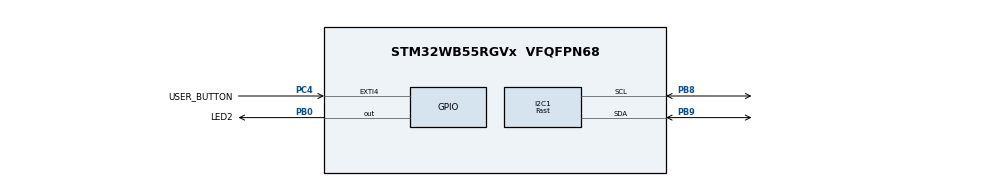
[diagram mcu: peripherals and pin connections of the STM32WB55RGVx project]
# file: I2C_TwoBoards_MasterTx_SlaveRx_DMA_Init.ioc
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Dma.I2C1_RX.0.Direction=DMA_PERIPH_TO_MEMORY
Dma.I2C1_RX.0.EventEnable=DISABLE
Dma.I2C1_RX.0.Instance=DMA1_Channel3
Dma.I2C1_RX.0.MemDataAlignment=DMA_MDATAALIGN_BYTE
Dma.I2C1_RX.0.MemInc=DMA_MINC_ENABLE
Dma.I2C1_RX.0.Mode=DMA_NORMAL
Dma.I2C1_RX.0.PeriphDataAlignment=DMA_PDATAALIGN_BYTE
Dma.I2C1_RX.0.PeriphInc=DMA_PINC_DISABLE
Dma.I2C1_RX.0.Polarity=HAL_DMAMUX_REQ_GEN_RISING
Dma.I2C1_RX.0.Priority=DMA_PRIORITY_HIGH
Dma.I2C1_RX.0.RequestNumber=1
Dma.I2C1_RX.0.SignalID=HAL_DMAMUX1_REQ_GEN_EXTI4
Dma.I2C1_RX.0.SyncEnable=DISABLE
Dma.I2C1_RX.0.SyncPolarity=HAL_DMAMUX_SYNC_NO_EVENT
Dma.I2C1_RX.0.SyncRequestNumber=1
Dma.I2C1_RX.0.SyncSignalID=HAL_DMAMUX1_SYNC_EXTI4
Dma.I2C1_TX.1.Direction=DMA_MEMORY_TO_PERIPH
Dma.I2C1_TX.1.EventEnable=DISABLE
Dma.I2C1_TX.1.Instance=DMA1_Channel2
Dma.I2C1_TX.1.MemDataAlignment=DMA_MDATAALIGN_BYTE
Dma.I2C1_TX.1.MemInc=DMA_MINC_ENABLE
Dma.I2C1_TX.1.Mode=DMA_NORMAL
Dma.I2C1_TX.1.PeriphDataAlignment=DMA_PDATAALIGN_BYTE
Dma.I2C1_TX.1.PeriphInc=DMA_PINC_DISABLE
Dma.I2C1_TX.1.Polarity=HAL_DMAMUX_REQ_GEN_RISING
Dma.I2C1_TX.1.Priority=DMA_PRIORITY_HIGH
Dma.I2C1_TX.1.RequestNumber=1
Dma.I2C1_TX.1.SignalID=HAL_DMAMUX1_REQ_GEN_EXTI4
Dma.I2C1_TX.1.SyncEnable=DISABLE
Dma.I2C1_TX.1.SyncPolarity=HAL_DMAMUX_SYNC_NO_EVENT
Dma.I2C1_TX.1.SyncRequestNumber=1
Dma.I2C1_TX.1.SyncSignalID=HAL_DMAMUX1_SYNC_EXTI4
Dma.Request0=I2C1_RX
Dma.Request1=I2C1_TX
I2C1.AddressingMode=I2C_ADDRESSINGMODE_7BIT
I2C1.Analog_Filter=I2C_ANALOGFILTER_ENABLE
I2C1.CustomTiming=Disabled
I2C1.DualAddressMode=I2C_DUALADDRESS_DISABLE
I2C1.GeneralCallMode=I2C_GENERALCALL_DISABLE
I2C1.I2C_Coeff_DF=2
I2C1.I2C_Fall_Time=10
I2C1.I2C_Rise_Time=100
I2C1.I2C_Speed_Mode=I2C_Fast
I2C1.NoStretchMode=I2C_NOSTRETCH_DISABLE
I2C1.OwnAddress=0x5a
I2C1.Speed=400
Mcu.Family=STM32WB
Mcu.Name=STM32WB55RGVx
Mcu.Package=VFQFPN68
NVIC.DMA1_Channel2_IRQn=true\:0\:0\:false\:false\:true\:false\:true\:true
NVIC.DMA1_Channel3_IRQn=true\:0\:0\:false\:false\:true\:false\:true\:true
NVIC.EXTI4_IRQn=true\:0\:0\:false\:false\:true\:true\:true\:true
NVIC.PriorityGroup=NVIC_PRIORITYGROUP_4
PB0.GPIO_Label=LED2
PB0.Signal=GPIO_Output
PB8.GPIO_Pu=GPIO_PULLUP
PB8.GPIO_Speed=GPIO_SPEED_FREQ_HIGH
PB8.Mode=I2C
PB8.Signal=I2C1_SCL
PB9.GPIO_Pu=GPIO_PULLUP
PB9.GPIO_Speed=GPIO_SPEED_FREQ_HIGH
PB9.Mode=I2C
PB9.Signal=I2C1_SDA
PC4.GPIO_Label=USER_BUTTON
PC4.GPIO_ModeDefaultEXTI=GPIO_MODE_IT_FALLING
PC4.GPIO_PuPd=GPIO_PULLUP
PC4.Signal=GPXTI4
ProjectManager.HeapSize=0x200
ProjectManager.StackSize=0x400
ProjectManager.TargetToolchain=EWARM V8
RCC.ADCFreq_Value=16000000
RCC.AHB2CLKDivider=RCC_SYSCLK_DIV2
RCC.AHBFreq_Value=16000000
RCC.APB1Freq_Value=16000000
RCC.APB1TimFreq_Value=16000000
RCC.APB2Freq_Value=16000000
RCC.APB2TimFreq_Value=16000000
RCC.APB3Freq_Value=16000000
RCC.CodegenConfigPeriph=false
RCC.CortexFreq_Value=16000000
RCC.HCLKFreq_Value=16000000
RCC.HSE_VALUE=8000000
RCC.HSI48_VALUE=48000000
RCC.HSI_VALUE=16000000
RCC.LSE_VALUE=32768
RCC.PLLN=32
RCC.SYSCLKFreq_VALUE=16000000
RCC.SYSCLKSource=RCC_SYSCLKSOURCE_HSI
RCC.USBFreq_Value=16000000
RCC.VCOOutputFreq_Value=128000000
board=custom

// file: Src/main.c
/* USER CODE BEGIN Header */
/**
  ******************************************************************************
  * @file    Examples_LL/I2C/I2C_TwoBoards_MasterTx_SlaveRx_DMA_Init/Src/main.c
  * @author  MCD Application Team
  * @brief   This example describes how to send/receive bytes over I2C IP using
  *          the STM32WBxx I2C LL API.
  *          Peripheral initialization done using LL unitary services functions.
  ******************************************************************************
  * @attention
  *
  * Copyright (c) 2019-2021 STMicroelectronics.
  * All rights reserved.
  *
  * This software is licensed under terms that can be found in the LICENSE file
  * in the root directory of this software component.
  * If no LICENSE file comes with this software, it is provided AS-IS.
  *
  ******************************************************************************
  */
/* USER CODE END Header */
#include "main.h"

/* USER CODE BEGIN PD */
/**
  * @brief Timeout value
  */
#if (USE_TIMEOUT == 1)
#define DMA_SEND_TIMEOUT_TC_MS               5
#ifdef SLAVE_BOARD
#define I2C_SEND_TIMEOUT_STOP_MS             5
#else /* MASTER BOARD */
#define I2C_SEND_TIMEOUT_SB_MS               5
#define I2C_SEND_TIMEOUT_ADDR_MS             5
#endif
#endif /* USE_TIMEOUT */

/**
  * @brief I2C devices settings
  */
/* Timing register value is computed with the STM32CubeMX Tool,
  * Fast Mode @400kHz with I2CCLK = 16 MHz,
  * rise time = 100ns, fall time = 10ns
  * Timing Value = (uint32_t)0x00C0216C
  */
#define I2C_TIMING                           0x00C0216C

/* USER CODE END PD */

/* USER CODE BEGIN PV */
#if (USE_TIMEOUT == 1)
uint32_t Timeout                             = 0; /* Variable used for Timeout management */
#endif /* USE_TIMEOUT */
const uint8_t aLedOn[]                       = "LED ON";

/**
  * @brief Variables related to SlaveReceive process
  */
__IO uint8_t  ubNbDataToReceive              = sizeof(aLedOn);
uint8_t       aReceiveBuffer[sizeof(aLedOn)] = {0};
__IO uint8_t  ubSlaveTransferComplete        = 0;

/**
  * @brief Variables related to MasterTransmit process
  */
__IO uint8_t  ubNbDataToTransmit             = sizeof(aLedOn);
uint8_t*      pTransmitBuffer                = (uint8_t*)aLedOn;
__IO uint8_t  ubMasterTransferComplete       = 0;
__IO uint8_t  ubButtonPress                  = 0;

/* USER CODE END PV */

void SystemClock_Config(void);
void PeriphCommonClock_Config(void);
static void MX_GPIO_Init(void);
static void MX_DMA_Init(void);
static void MX_I2C1_Init(void);
/* USER CODE BEGIN PFP */
void     LED_On(void);
void     LED_Off(void);
void     LED_Blinking(uint32_t Period);

#ifdef SLAVE_BOARD
void     Handle_I2C_Slave(void);
uint8_t  Buffercmp8(uint8_t* pBuffer1, uint8_t* pBuffer2, uint8_t BufferLength);

#else /* MASTER_BOARD */
void     WaitForUserButtonPress(void);
void     Handle_I2C_Master(void);
#endif /* SLAVE_BOARD */

/* USER CODE END PFP */

int main(void)
{

  /* MCU Configuration--------------------------------------------------------*/

  /* Reset of all peripherals, Initializes the Flash interface and the Systick. */

  /* System interrupt init*/
  NVIC_SetPriorityGrouping(NVIC_PRIORITYGROUP_4);

  /* Configure the system clock */
  SystemClock_Config();

/* Configure the peripherals common clocks */
  PeriphCommonClock_Config();

  /* Initialize all configured peripherals */
  MX_GPIO_Init();
  MX_DMA_Init();
  MX_I2C1_Init();
  /* USER CODE BEGIN 2 */

  /* Set LED2 Off */
  LED_Off();

#ifdef SLAVE_BOARD

  /* Handle I2C1 events (Slave) */
  Handle_I2C_Slave();
#else /* MASTER_BOARD */

  /* Wait for User push-button (SW1) press to start transfer */
  WaitForUserButtonPress();

  /* Handle I2C1 events (Master) */
  Handle_I2C_Master();
#endif /* SLAVE_BOARD */

  /* USER CODE END 2 */

  /* Infinite loop */
  while (1)
  {

  }
}

void SystemClock_Config(void)
{
  /* HSI configuration and activation */
  LL_RCC_HSI_Enable();
  while(LL_RCC_HSI_IsReady() != 1)
  {
  }

  /* Sysclk activation on the HSI */
  /* Set CPU1 prescaler*/
  LL_RCC_SetAHBPrescaler(LL_RCC_SYSCLK_DIV_1);

  /* Set CPU2 prescaler*/
  LL_C2_RCC_SetAHBPrescaler(LL_RCC_SYSCLK_DIV_2);

  LL_RCC_SetSysClkSource(LL_RCC_SYS_CLKSOURCE_HSI);
  while(LL_RCC_GetSysClkSource() != LL_RCC_SYS_CLKSOURCE_STATUS_HSI)
  {
  }

  /* Set AHB SHARED prescaler*/
  LL_RCC_SetAHB4Prescaler(LL_RCC_SYSCLK_DIV_1);

  /* Set APB1 prescaler*/
  LL_RCC_SetAPB1Prescaler(LL_RCC_APB1_DIV_1);

  /* Set APB2 prescaler*/
  LL_RCC_SetAPB2Prescaler(LL_RCC_APB2_DIV_1);

  LL_Init1msTick(16000000);

  /* Update CMSIS variable (which can be updated also through SystemCoreClockUpdate function) */
  LL_SetSystemCoreClock(16000000);
}

void PeriphCommonClock_Config(void)
{
}

static void MX_I2C1_Init(void)
{

  LL_I2C_InitTypeDef I2C_InitStruct = {0};

  LL_GPIO_InitTypeDef GPIO_InitStruct = {0};

  LL_AHB2_GRP1_EnableClock(LL_AHB2_GRP1_PERIPH_GPIOB);
  /**I2C1 GPIO Configuration
  PB8   ------> I2C1_SCL
  PB9   ------> I2C1_SDA
  */
  GPIO_InitStruct.Pin = LL_GPIO_PIN_8|LL_GPIO_PIN_9;
  GPIO_InitStruct.Mode = LL_GPIO_MODE_ALTERNATE;
  GPIO_InitStruct.Speed = LL_GPIO_SPEED_FREQ_HIGH;
  GPIO_InitStruct.OutputType = LL_GPIO_OUTPUT_OPENDRAIN;
  GPIO_InitStruct.Pull = LL_GPIO_PULL_UP;
  GPIO_InitStruct.Alternate = LL_GPIO_AF_4;
  LL_GPIO_Init(GPIOB, &GPIO_InitStruct);

  /* Peripheral clock enable */
  LL_APB1_GRP1_EnableClock(LL_APB1_GRP1_PERIPH_I2C1);

  /* I2C1 DMA Init */

  /* I2C1_RX Init */
  LL_DMA_SetPeriphRequest(DMA1, LL_DMA_CHANNEL_3, LL_DMAMUX_REQ_I2C1_RX);

  LL_DMA_SetDataTransferDirection(DMA1, LL_DMA_CHANNEL_3, LL_DMA_DIRECTION_PERIPH_TO_MEMORY);

  LL_DMA_SetChannelPriorityLevel(DMA1, LL_DMA_CHANNEL_3, LL_DMA_PRIORITY_HIGH);

  LL_DMA_SetMode(DMA1, LL_DMA_CHANNEL_3, LL_DMA_MODE_NORMAL);

  LL_DMA_SetPeriphIncMode(DMA1, LL_DMA_CHANNEL_3, LL_DMA_PERIPH_NOINCREMENT);

  LL_DMA_SetMemoryIncMode(DMA1, LL_DMA_CHANNEL_3, LL_DMA_MEMORY_INCREMENT);

  LL_DMA_SetPeriphSize(DMA1, LL_DMA_CHANNEL_3, LL_DMA_PDATAALIGN_BYTE);

  LL_DMA_SetMemorySize(DMA1, LL_DMA_CHANNEL_3, LL_DMA_MDATAALIGN_BYTE);

  /* I2C1_TX Init */
  LL_DMA_SetPeriphRequest(DMA1, LL_DMA_CHANNEL_2, LL_DMAMUX_REQ_I2C1_TX);

  LL_DMA_SetDataTransferDirection(DMA1, LL_DMA_CHANNEL_2, LL_DMA_DIRECTION_MEMORY_TO_PERIPH);

  LL_DMA_SetChannelPriorityLevel(DMA1, LL_DMA_CHANNEL_2, LL_DMA_PRIORITY_HIGH);

  LL_DMA_SetMode(DMA1, LL_DMA_CHANNEL_2, LL_DMA_MODE_NORMAL);

  LL_DMA_SetPeriphIncMode(DMA1, LL_DMA_CHANNEL_2, LL_DMA_PERIPH_NOINCREMENT);

  LL_DMA_SetMemoryIncMode(DMA1, LL_DMA_CHANNEL_2, LL_DMA_MEMORY_INCREMENT);

  LL_DMA_SetPeriphSize(DMA1, LL_DMA_CHANNEL_2, LL_DMA_PDATAALIGN_BYTE);

  LL_DMA_SetMemorySize(DMA1, LL_DMA_CHANNEL_2, LL_DMA_MDATAALIGN_BYTE);

  /* USER CODE BEGIN I2C1_Init 1 */
  LL_DMA_SetDataLength(DMA1, LL_DMA_CHANNEL_3, ubNbDataToTransmit);
  LL_DMA_ConfigAddresses(DMA1, LL_DMA_CHANNEL_3, (uint32_t)LL_I2C_DMA_GetRegAddr(I2C1, LL_I2C_DMA_REG_DATA_RECEIVE), (uint32_t)&(aReceiveBuffer), LL_DMA_GetDataTransferDirection(DMA1, LL_DMA_CHANNEL_3));
  LL_DMA_SetDataLength(DMA1, LL_DMA_CHANNEL_2, ubNbDataToTransmit);
  LL_DMA_ConfigAddresses(DMA1, LL_DMA_CHANNEL_2, (uint32_t)pTransmitBuffer, (uint32_t)LL_I2C_DMA_GetRegAddr(I2C1, LL_I2C_DMA_REG_DATA_TRANSMIT), LL_DMA_GetDataTransferDirection(DMA1, LL_DMA_CHANNEL_2));
  LL_DMA_EnableIT_TC(DMA1, LL_DMA_CHANNEL_3);
  LL_DMA_EnableIT_TE(DMA1, LL_DMA_CHANNEL_3);
  LL_DMA_EnableIT_TC(DMA1, LL_DMA_CHANNEL_2);
  LL_DMA_EnableIT_TE(DMA1, LL_DMA_CHANNEL_2);
  /* USER CODE END I2C1_Init 1 */

  /** I2C Initialization
  */
  I2C_InitStruct.PeripheralMode = LL_I2C_MODE_I2C;
  I2C_InitStruct.Timing = 0x00000E14;
  I2C_InitStruct.AnalogFilter = LL_I2C_ANALOGFILTER_ENABLE;
  I2C_InitStruct.DigitalFilter = 2;
  I2C_InitStruct.OwnAddress1 = 180;
  I2C_InitStruct.TypeAcknowledge = LL_I2C_ACK;
  I2C_InitStruct.OwnAddrSize = LL_I2C_OWNADDRESS1_7BIT;
  LL_I2C_Init(I2C1, &I2C_InitStruct);
  LL_I2C_EnableAutoEndMode(I2C1);
  LL_I2C_SetOwnAddress2(I2C1, 0, LL_I2C_OWNADDRESS2_NOMASK);
  LL_I2C_DisableOwnAddress2(I2C1);
  LL_I2C_DisableGeneralCall(I2C1);
  LL_I2C_EnableClockStretching(I2C1);
  /* USER CODE BEGIN I2C1_Init 2 */
#ifdef SLAVE_BOARD
  LL_I2C_EnableDMAReq_RX(I2C1);
#else /* MASTER_BOARD */
  LL_I2C_EnableDMAReq_TX(I2C1);
#endif /* SLAVE_BOARD */
  LL_I2C_Enable(I2C1);
  /* USER CODE END I2C1_Init 2 */

}

static void MX_DMA_Init(void)
{

  /* Init with LL driver */
  /* DMA controller clock enable */
  LL_AHB1_GRP1_EnableClock(LL_AHB1_GRP1_PERIPH_DMAMUX1);
  LL_AHB1_GRP1_EnableClock(LL_AHB1_GRP1_PERIPH_DMA1);

  /* DMA interrupt init */
  /* DMA1_Channel2_IRQn interrupt configuration */
  NVIC_SetPriority(DMA1_Channel2_IRQn, NVIC_EncodePriority(NVIC_GetPriorityGrouping(),0, 0));
  NVIC_EnableIRQ(DMA1_Channel2_IRQn);
  /* DMA1_Channel3_IRQn interrupt configuration */
  NVIC_SetPriority(DMA1_Channel3_IRQn, NVIC_EncodePriority(NVIC_GetPriorityGrouping(),0, 0));
  NVIC_EnableIRQ(DMA1_Channel3_IRQn);

}

static void MX_GPIO_Init(void)
{
  LL_EXTI_InitTypeDef EXTI_InitStruct = {0};
  LL_GPIO_InitTypeDef GPIO_InitStruct = {0};

  /* GPIO Ports Clock Enable */
  LL_AHB2_GRP1_EnableClock(LL_AHB2_GRP1_PERIPH_GPIOB);
  LL_AHB2_GRP1_EnableClock(LL_AHB2_GRP1_PERIPH_GPIOC);

  /**/
  LL_GPIO_ResetOutputPin(LED2_GPIO_Port, LED2_Pin);

  /**/
  LL_SYSCFG_SetEXTISource(LL_SYSCFG_EXTI_PORTC, LL_SYSCFG_EXTI_LINE4);

  /**/
  EXTI_InitStruct.Line_0_31 = LL_EXTI_LINE_4;
  EXTI_InitStruct.Line_32_63 = LL_EXTI_LINE_NONE;
  EXTI_InitStruct.LineCommand = ENABLE;
  EXTI_InitStruct.Mode = LL_EXTI_MODE_IT;
  EXTI_InitStruct.Trigger = LL_EXTI_TRIGGER_FALLING;
  LL_EXTI_Init(&EXTI_InitStruct);

  /**/
  LL_GPIO_SetPinPull(USER_BUTTON_GPIO_Port, USER_BUTTON_Pin, LL_GPIO_PULL_UP);

  /**/
  LL_GPIO_SetPinMode(USER_BUTTON_GPIO_Port, USER_BUTTON_Pin, LL_GPIO_MODE_INPUT);

  /**/
  GPIO_InitStruct.Pin = LED2_Pin;
  GPIO_InitStruct.Mode = LL_GPIO_MODE_OUTPUT;
  GPIO_InitStruct.Speed = LL_GPIO_SPEED_FREQ_LOW;
  GPIO_InitStruct.OutputType = LL_GPIO_OUTPUT_PUSHPULL;
  GPIO_InitStruct.Pull = LL_GPIO_PULL_NO;
  LL_GPIO_Init(LED2_GPIO_Port, &GPIO_InitStruct);

  /* EXTI interrupt init*/
  NVIC_SetPriority(EXTI4_IRQn, NVIC_EncodePriority(NVIC_GetPriorityGrouping(),0, 0));
  NVIC_EnableIRQ(EXTI4_IRQn);

}

/* USER CODE BEGIN 4 */
#ifdef SLAVE_BOARD
#else /* MASTER_BOARD */
#endif /* SLAVE_BOARD */

/**
  * @brief  Turn-on LED2.
  * @param  None
  * @retval None
  */
void LED_On(void)
{
  /* Turn LED2 on */
  LL_GPIO_SetOutputPin(LED2_GPIO_Port, LED2_Pin);
}

/**
  * @brief  Turn-off LED2.
  * @param  None
  * @retval None
  */
void LED_Off(void)
{
  /* Turn LED2 off */
  LL_GPIO_ResetOutputPin(LED2_GPIO_Port, LED2_Pin);
}

/**
  * @brief  Set LED2 to Blinking mode for an infinite loop (toggle period based on value provided as input parameter).
  * @param  Period : Period of time (in ms) between each toggling of LED
  *   This parameter can be user defined values. Pre-defined values used in that example are :
  *     @arg LED_BLINK_FAST : Fast Blinking
  *     @arg LED_BLINK_SLOW : Slow Blinking
  *     @arg LED_BLINK_ERROR : Error specific Blinking
  * @retval None
  */
void LED_Blinking(uint32_t Period)
{
  /* Turn LED2 on */
  LL_GPIO_SetOutputPin(LED2_GPIO_Port, LED2_Pin);

  /* Toggle IO in an infinite loop */
  while (1)
  {
    LL_GPIO_TogglePin(LED2_GPIO_Port, LED2_Pin);
    LL_mDelay(Period);
  }
}

#ifdef SLAVE_BOARD
/**
  * @brief  This Function handle Slave events to perform a reception process
  * @note  This function is composed in different steps :
  *        -1- Wait ADDR flag and check address match code and direction
  *             -1.1- Enable DMA transfer(before clearing ADDR FLag).
  *        -2- Loop until end of transfer completed (DMA TC raised).
  *        -3- Loop until end of slave reception completed (STOP flag raised).
  *        -4- Clear pending flags, check Data consistency.
  * @param  None
  * @retval None
  */
void Handle_I2C_Slave(void)
{

  /* (1) Wait ADDR flag and check address match code and direction ************/
  while(!LL_I2C_IsActiveFlag_ADDR(I2C1))
  {
  }

  /* Verify the Address Match with the OWN Slave address */
  if(LL_I2C_GetAddressMatchCode(I2C1) == SLAVE_OWN_ADDRESS)
  {
    /* Verify the transfer direction, a write direction, Slave enters receiver mode */
    if(LL_I2C_GetTransferDirection(I2C1) == LL_I2C_DIRECTION_WRITE)
    {
      /* (1.1) Enable DMA transfer (before clearing ADDR FLag) ****************/
      LL_DMA_EnableChannel(DMA1, LL_DMA_CHANNEL_3);
      /* Clear ADDR flag value in ISR register */
      LL_I2C_ClearFlag_ADDR(I2C1);
    }
    else
    {
      /* Clear ADDR flag value in ISR register */
      LL_I2C_ClearFlag_ADDR(I2C1);

      /* Call Error function */
      Error_Callback();
    }
  }
  else
  {
    /* Clear ADDR flag value in ISR register */
    LL_I2C_ClearFlag_ADDR(I2C1);

    /* Call Error function */
    Error_Callback();
  }

  /* (4) Loop until end of transfer completed (DMA TC raised) *****************/

#if (USE_TIMEOUT == 1)
  Timeout = DMA_SEND_TIMEOUT_TC_MS;
#endif /* USE_TIMEOUT */

  /* Loop until DMA transfer complete event */
  while(!ubSlaveTransferComplete)
  {
#if (USE_TIMEOUT == 1)
    /* Check Systick counter flag to decrement the time-out value */
    if (LL_SYSTICK_IsActiveCounterFlag())
    {
      if(Timeout-- == 0)
      {
        /* Time-out occurred. Set LED to blinking mode */
        LED_Blinking(LED_BLINK_SLOW);
      }
    }
#endif /* USE_TIMEOUT */
  }

  /* (5) Loop until end of slave reception completed (STOP flag raised) *******/

#if (USE_TIMEOUT == 1)
  Timeout = I2C_SEND_TIMEOUT_STOP_MS;
#endif /* USE_TIMEOUT */

  /* Loop until STOP flag is raised  */
  while(!LL_I2C_IsActiveFlag_STOP(I2C1))
  {
#if (USE_TIMEOUT == 1)
    /* Check Systick counter flag to decrement the time-out value */
    if (LL_SYSTICK_IsActiveCounterFlag())
    {
      if(Timeout-- == 0)
      {
        /* Time-out occurred. Set LED2 to blinking mode */
        LED_Blinking(LED_BLINK_SLOW);
      }
    }
#endif /* USE_TIMEOUT */
  }

  /* (6) Clear pending flags, Data consistency are checking into Slave process */

  /* End of I2C_SlaveReceiver_MasterTransmitter_DMA Process */
  LL_I2C_ClearFlag_STOP(I2C1);

  /* Check if data request to turn on the LED2 */
  if(Buffercmp8((uint8_t*)aReceiveBuffer, (uint8_t*)aLedOn, (ubNbDataToReceive-1)) == 0)
  {
    /* Turn LED2 On:
     * Expected bytes have been received
     * Slave Rx sequence completed successfully
     */
    LED_On();
  }
  else
  {
    /* Call Error function */
    Error_Callback();
  }
}

/**
  * @brief  Compares two 8-bit buffers and returns the comparison result.
  * @param  pBuffer1: pointer to the source buffer to be compared to.
  * @param  pBuffer2: pointer to the second source buffer to be compared to the first.
  * @param  BufferLength: buffer's length.
  *    - 0: Comparison is OK (the two Buffers are identical)
  *    - Value different from 0: Comparison is NOK (Buffers are different)
  */
uint8_t Buffercmp8(uint8_t* pBuffer1, uint8_t* pBuffer2, uint8_t BufferLength)
{
  while (BufferLength--)
  {
    if (*pBuffer1 != *pBuffer2)
    {
      return 1;
    }

    pBuffer1++;
    pBuffer2++;
  }

  return 0;
}

#else /* MASTER_BOARD */

/**
  * @brief  Wait for User push-button (SW1) press to start transfer.
  * @param  None
  * @retval None
  */
  /*  */
void WaitForUserButtonPress(void)
{
  while (ubButtonPress == 0)
  {
    LL_GPIO_TogglePin(LED2_GPIO_Port, LED2_Pin);
    LL_mDelay(LED_BLINK_FAST);
  }
  /* Turn LED2 off */
  LL_GPIO_ResetOutputPin(LED2_GPIO_Port, LED2_Pin);
}

/**
  * @brief  This Function handle Master events to perform a transmission process
  * @note  This function is composed in different steps :
  *        -1- Enable DMA transfer.
  *        -2- Initiate a Start condition to the Slave device.
  *        -3- Loop until end of transfer completed (DMA TC raised).
  *        -4- Loop until end of master transfer completed (STOP flag raised).
  *        -5- Clear pending flags, Data consistency are checking into Slave process.
  * @param  None
  * @retval None
  */
void Handle_I2C_Master(void)
{
  /* (1) Enable DMA transfer **************************************************/
  LL_DMA_EnableChannel(DMA1, LL_DMA_CHANNEL_2);
  /* (2) Initiate a Start condition to the Slave device ***********************/

  /* Master Generate Start condition for a write request:
   *  - to the Slave with a 7-Bit SLAVE_OWN_ADDRESS
   *  - with a auto stop condition generation when transmit all bytes
   */
  LL_I2C_HandleTransfer(I2C1, SLAVE_OWN_ADDRESS, LL_I2C_ADDRSLAVE_7BIT, ubNbDataToTransmit, LL_I2C_MODE_AUTOEND, LL_I2C_GENERATE_START_WRITE);

  /* (3) Loop until end of transfer completed (DMA TC raised) *****************/

#if (USE_TIMEOUT == 1)
  Timeout = DMA_SEND_TIMEOUT_TC_MS;
#endif /* USE_TIMEOUT */

  /* Loop until DMA transfer complete event */
  while(!ubMasterTransferComplete)
  {
#if (USE_TIMEOUT == 1)
    /* Check Systick counter flag to decrement the time-out value */
    if (LL_SYSTICK_IsActiveCounterFlag())
    {
      if(Timeout-- == 0)
      {
        /* Time-out occurred. Set LED to blinking mode */
        LED_Blinking(LED_BLINK_SLOW);
      }
    }
#endif /* USE_TIMEOUT */
  }

  /* (4) Loop until end of master transfer completed (STOP flag raised) *******/

#if (USE_TIMEOUT == 1)
  Timeout = I2C_SEND_TIMEOUT_STOP_MS;
#endif /* USE_TIMEOUT */

  /* Loop until STOP flag is raised  */
  while(!LL_I2C_IsActiveFlag_STOP(I2C1))
  {
#if (USE_TIMEOUT == 1)
    /* Check Systick counter flag to decrement the time-out value */
    if (LL_SYSTICK_IsActiveCounterFlag())
    {
      if(Timeout-- == 0)
      {
        /* Time-out occurred. Set LED2 to blinking mode */
        LED_Blinking(LED_BLINK_SLOW);
      }
    }
#endif /* USE_TIMEOUT */
  }

  /* (5) Clear pending flags, Data consistency are checking into Slave process */

  /* End of I2C_SlaveReceiver_MasterTransmitter_DMA Process */
  LL_I2C_ClearFlag_STOP(I2C1);

  /* Turn LED2 On:
   *  - Expected bytes have been sent
   *  - Master Tx sequence completed successfully
   */
  LED_On();
}
#endif /* SLAVE_BOARD */
/******************************************************************************/
/*   IRQ HANDLER TREATMENT Functions                                          */
/******************************************************************************/

#ifdef SLAVE_BOARD
/**
  * @brief  Function called from DMA1 IRQ Handler
  * @note   This function is executed when the transfer complete interrupt
  *         is generated
  * @retval None
  */
void DMA1_Transfer_Complete_Callback()
{
  /* DMA transfer completed */
  ubSlaveTransferComplete = 1;
}

/**
  * @brief  Function called from DMA1 IRQ Handler
  * @note   This function is executed when the transfer error interrupt
  *         is generated during DMA transfer
  * @retval None
  */
void DMA1_Transfer_Error_Callback()
{
  /* Disable DMA1_Channel3_IRQn */
  NVIC_DisableIRQ(DMA1_Channel3_IRQn);

  /* Error detected during DMA transfer */
  LED_Blinking(LED_BLINK_ERROR);
}

#else /* MASTER_BOARD */

/**
  * @brief  Function to manage User push-button (SW1)
  * @param  None
  * @retval None
  */
void UserButton_Callback(void)
{
  /* Update User push-button (SW1) variable : to be checked in waiting loop in main program */
  ubButtonPress = 1;
}

/**
  * @brief  Function called from DMA1 IRQ Handler
  * @note   This function is executed when the transfer complete interrupt
  *         is generated
  * @retval None
  */
void DMA1_Transfer_Complete_Callback()
{
  /* DMA transfer completed */
  ubMasterTransferComplete = 1;
}

/**
  * @brief  Function called from DMA1 IRQ Handler
  * @note   This function is executed when the transfer error interrupt
  *         is generated during DMA transfer
  * @retval None
  */
void DMA1_Transfer_Error_Callback()
{
  /* Disable DMA1_Channel2_IRQn */
  NVIC_DisableIRQ(DMA1_Channel2_IRQn);

  /* Error detected during DMA transfer */
  LED_Blinking(LED_BLINK_ERROR);
}
#endif /* SLAVE_BOARD */

/**
  * @brief  Function called in case of error detected in I2C IT Handler
  * @param  None
  * @retval None
  */
void Error_Callback(void)
{
  /* Disable DMA1_Channel3_IRQn and DMA1_Channel2_IRQn */
  NVIC_DisableIRQ(DMA1_Channel3_IRQn);
  NVIC_DisableIRQ(DMA1_Channel2_IRQn);

  /* Unexpected event : Set LED2 to Blinking mode to indicate error occurs */
  LED_Blinking(LED_BLINK_ERROR);
}

/* USER CODE END 4 */

void Error_Handler(void)
{
}
